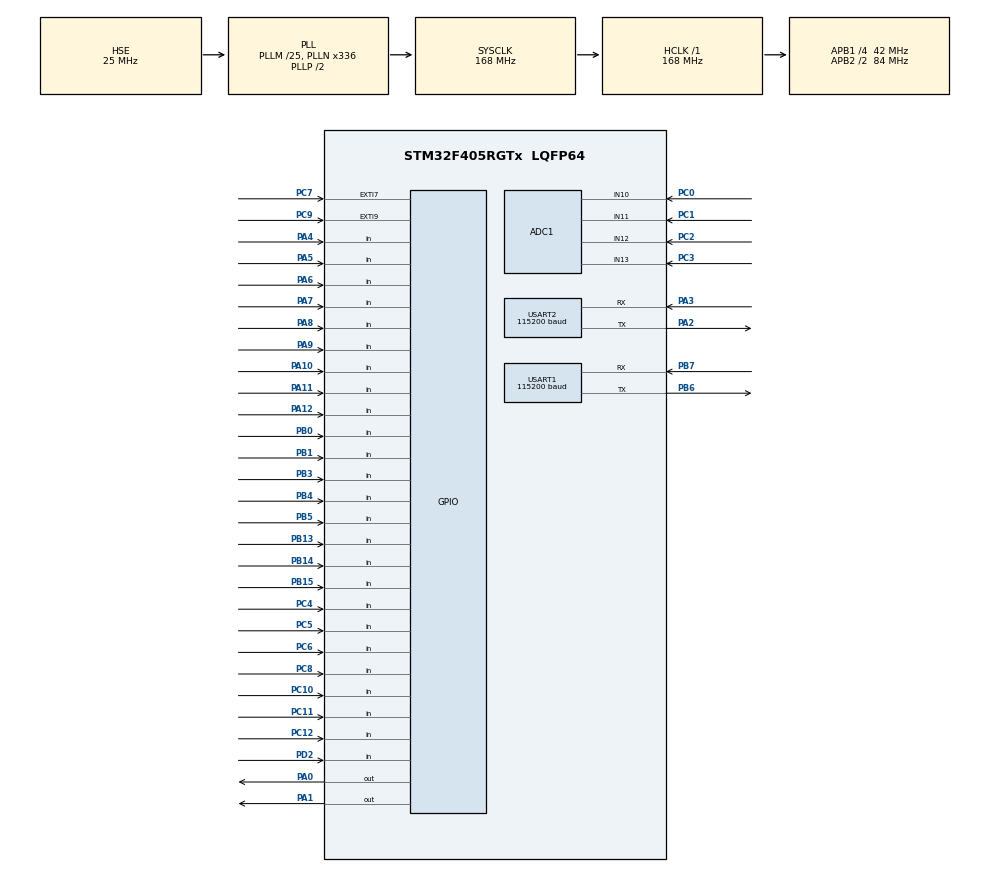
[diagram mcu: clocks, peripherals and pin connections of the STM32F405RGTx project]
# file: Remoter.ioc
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ADC1.Channel-0\#ChannelRegularConversion=ADC_CHANNEL_10
ADC1.Channel-1\#ChannelRegularConversion=ADC_CHANNEL_11
ADC1.Channel-2\#ChannelRegularConversion=ADC_CHANNEL_12
ADC1.Channel-3\#ChannelRegularConversion=ADC_CHANNEL_13
ADC1.ContinuousConvMode=DISABLE
ADC1.DMAContinuousRequests=ENABLE
ADC1.DiscontinuousConvMode=ENABLE
ADC1.EnableAnalogWatchDog=false
ADC1.InjNumberOfConversion=0
ADC1.NbrOfConversion=4
ADC1.NbrOfConversionFlag=1
ADC1.NbrOfDiscConversion=3
ADC1.Rank-0\#ChannelRegularConversion=1
ADC1.Rank-1\#ChannelRegularConversion=2
ADC1.Rank-2\#ChannelRegularConversion=3
ADC1.Rank-3\#ChannelRegularConversion=4
ADC1.SamplingTime-0\#ChannelRegularConversion=ADC_SAMPLETIME_3CYCLES
ADC1.SamplingTime-1\#ChannelRegularConversion=ADC_SAMPLETIME_3CYCLES
ADC1.SamplingTime-2\#ChannelRegularConversion=ADC_SAMPLETIME_3CYCLES
ADC1.SamplingTime-3\#ChannelRegularConversion=ADC_SAMPLETIME_3CYCLES
ADC1.ScanConvMode=ENABLE
ADC1.master=1
Dma.ADC1.0.Direction=DMA_PERIPH_TO_MEMORY
Dma.ADC1.0.FIFOMode=DMA_FIFOMODE_DISABLE
Dma.ADC1.0.Instance=DMA2_Stream0
Dma.ADC1.0.MemDataAlignment=DMA_MDATAALIGN_HALFWORD
Dma.ADC1.0.MemInc=DMA_MINC_ENABLE
Dma.ADC1.0.Mode=DMA_NORMAL
Dma.ADC1.0.PeriphDataAlignment=DMA_PDATAALIGN_HALFWORD
Dma.ADC1.0.PeriphInc=DMA_PINC_DISABLE
Dma.ADC1.0.Priority=DMA_PRIORITY_LOW
Dma.Request0=ADC1
Dma.Request1=USART1_RX
Dma.Request2=USART1_TX
Dma.Request3=USART2_RX
Dma.Request4=USART2_TX
Dma.USART1_RX.1.Direction=DMA_PERIPH_TO_MEMORY
Dma.USART1_RX.1.FIFOMode=DMA_FIFOMODE_DISABLE
Dma.USART1_RX.1.Instance=DMA2_Stream2
Dma.USART1_RX.1.MemDataAlignment=DMA_MDATAALIGN_BYTE
Dma.USART1_RX.1.MemInc=DMA_MINC_ENABLE
Dma.USART1_RX.1.Mode=DMA_NORMAL
Dma.USART1_RX.1.PeriphDataAlignment=DMA_PDATAALIGN_BYTE
Dma.USART1_RX.1.PeriphInc=DMA_PINC_DISABLE
Dma.USART1_RX.1.Priority=DMA_PRIORITY_HIGH
Dma.USART1_TX.2.Direction=DMA_MEMORY_TO_PERIPH
Dma.USART1_TX.2.FIFOMode=DMA_FIFOMODE_DISABLE
Dma.USART1_TX.2.Instance=DMA2_Stream7
Dma.USART1_TX.2.MemDataAlignment=DMA_MDATAALIGN_BYTE
Dma.USART1_TX.2.MemInc=DMA_MINC_ENABLE
Dma.USART1_TX.2.Mode=DMA_NORMAL
Dma.USART1_TX.2.PeriphDataAlignment=DMA_PDATAALIGN_BYTE
Dma.USART1_TX.2.PeriphInc=DMA_PINC_DISABLE
Dma.USART1_TX.2.Priority=DMA_PRIORITY_HIGH
Dma.USART2_RX.3.Direction=DMA_PERIPH_TO_MEMORY
Dma.USART2_RX.3.FIFOMode=DMA_FIFOMODE_DISABLE
Dma.USART2_RX.3.Instance=DMA1_Stream5
Dma.USART2_RX.3.MemDataAlignment=DMA_MDATAALIGN_BYTE
Dma.USART2_RX.3.MemInc=DMA_MINC_ENABLE
Dma.USART2_RX.3.Mode=DMA_NORMAL
Dma.USART2_RX.3.PeriphDataAlignment=DMA_PDATAALIGN_BYTE
Dma.USART2_RX.3.PeriphInc=DMA_PINC_DISABLE
Dma.USART2_RX.3.Priority=DMA_PRIORITY_HIGH
Dma.USART2_TX.4.Direction=DMA_MEMORY_TO_PERIPH
Dma.USART2_TX.4.FIFOMode=DMA_FIFOMODE_DISABLE
Dma.USART2_TX.4.Instance=DMA1_Stream6
Dma.USART2_TX.4.MemDataAlignment=DMA_MDATAALIGN_BYTE
Dma.USART2_TX.4.MemInc=DMA_MINC_ENABLE
Dma.USART2_TX.4.Mode=DMA_NORMAL
Dma.USART2_TX.4.PeriphDataAlignment=DMA_PDATAALIGN_BYTE
Dma.USART2_TX.4.PeriphInc=DMA_PINC_DISABLE
Dma.USART2_TX.4.Priority=DMA_PRIORITY_HIGH
Mcu.Family=STM32F4
Mcu.Name=STM32F405RGTx
Mcu.Package=LQFP64
NVIC.DMA1_Stream5_IRQn=true\:0\:0\:false\:false\:true\:false\:true\:true
NVIC.DMA1_Stream6_IRQn=true\:0\:0\:false\:false\:true\:false\:true\:true
NVIC.DMA2_Stream0_IRQn=true\:0\:0\:false\:false\:true\:false\:true\:true
NVIC.DMA2_Stream2_IRQn=true\:0\:0\:false\:false\:true\:false\:true\:true
NVIC.DMA2_Stream7_IRQn=true\:0\:0\:false\:false\:true\:false\:true\:true
NVIC.EXTI9_5_IRQn=true\:0\:0\:false\:false\:true\:true\:true\:true
NVIC.PriorityGroup=NVIC_PRIORITYGROUP_4
NVIC.TIM2_IRQn=true\:2\:0\:true\:false\:true\:true\:true\:true
NVIC.TIM3_IRQn=true\:1\:0\:true\:false\:true\:true\:true\:true
NVIC.TIM4_IRQn=true\:0\:0\:false\:false\:true\:true\:true\:true
NVIC.USART1_IRQn=true\:0\:0\:false\:false\:true\:true\:true\:true
NVIC.USART2_IRQn=true\:0\:0\:false\:false\:true\:true\:true\:true
PA0-WKUP.Signal=GPIO_Output
PA1.Signal=GPIO_Output
PA10.Signal=GPIO_Input
PA11.Signal=GPIO_Input
PA12.Signal=GPIO_Input
PA13.Mode=Serial_Wire
PA13.Signal=SYS_JTMS-SWDIO
PA14.Mode=Serial_Wire
PA14.Signal=SYS_JTCK-SWCLK
PA2.Mode=Asynchronous
PA2.Signal=USART2_TX
PA3.Mode=Asynchronous
PA3.Signal=USART2_RX
PA4.Signal=GPIO_Input
PA5.Signal=GPIO_Input
PA6.Signal=GPIO_Input
PA7.Signal=GPIO_Input
PA8.Signal=GPIO_Input
PA9.Signal=GPIO_Input
PB0.Signal=GPIO_Input
PB1.Signal=GPIO_Input
PB10.Signal=USART3_TX
PB11.Signal=USART3_RX
PB13.Signal=GPIO_Input
PB14.Signal=GPIO_Input
PB15.Signal=GPIO_Input
PB3.Signal=GPIO_Input
PB4.Signal=GPIO_Input
PB5.Signal=GPIO_Input
PB6.Mode=Asynchronous
PB6.Signal=USART1_TX
PB7.Mode=Asynchronous
PB7.Signal=USART1_RX
PC0.Signal=ADCx_IN10
PC1.Signal=ADCx_IN11
PC10.Signal=GPIO_Input
PC11.Signal=GPIO_Input
PC12.Signal=GPIO_Input
PC2.Signal=ADCx_IN12
PC3.Signal=ADCx_IN13
PC4.Signal=GPIO_Input
PC5.Signal=GPIO_Input
PC6.Signal=GPIO_Input
PC7.Signal=GPXTI7
PC8.Signal=GPIO_Input
PC9.Signal=GPXTI9
PD2.Signal=GPIO_Input
PH0-OSC_IN.Mode=HSE-External-Oscillator
PH0-OSC_IN.Signal=RCC_OSC_IN
PH1-OSC_OUT.Mode=HSE-External-Oscillator
PH1-OSC_OUT.Signal=RCC_OSC_OUT
ProjectManager.HeapSize=0x200
ProjectManager.StackSize=0x400
ProjectManager.TargetToolchain=MDK-ARM V5.32
RCC.48MHZClocksFreq_Value=84000000
RCC.AHBFreq_Value=168000000
RCC.APB1CLKDivider=RCC_HCLK_DIV4
RCC.APB1Freq_Value=42000000
RCC.APB1TimFreq_Value=84000000
RCC.APB2CLKDivider=RCC_HCLK_DIV2
RCC.APB2Freq_Value=84000000
RCC.APB2TimFreq_Value=168000000
RCC.CortexFreq_Value=168000000
RCC.HCLKFreq_Value=168000000
RCC.HSE_VALUE=25000000
RCC.HSICalibrationValue=25
RCC.HSI_VALUE=16000000
RCC.LSE_VALUE=32768
RCC.PLLM=25
RCC.PLLN=336
RCC.PLLSourceVirtual=RCC_PLLSOURCE_HSE
RCC.SYSCLKFreq_VALUE=168000000
RCC.SYSCLKSource=RCC_SYSCLKSOURCE_PLLCLK
RCC.VCOOutputFreq_Value=336000000
SH.ADCx_IN10.0=ADC1_IN10,IN10
SH.ADCx_IN11.0=ADC1_IN11,IN11
SH.ADCx_IN12.0=ADC1_IN12,IN12
SH.ADCx_IN13.0=ADC1_IN13,IN13
TIM2.AutoReloadPreload=TIM_AUTORELOAD_PRELOAD_ENABLE
TIM2.Period=999
TIM2.Prescaler=83
TIM3.AutoReloadPreload=TIM_AUTORELOAD_PRELOAD_ENABLE
TIM3.Period=1299
TIM3.Prescaler=1679
TIM4.Period=999
TIM4.Prescaler=83
USART1.BaudRate=115200
USART1.Parity=PARITY_NONE
USART1.VirtualMode=VM_ASYNC
USART1.WordLength=WORDLENGTH_8B
USART2.BaudRate=115200
USART2.VirtualMode=VM_ASYNC
VP_TIM2_VS_ClockSourceINT.Mode=Internal
VP_TIM3_VS_ClockSourceINT.Mode=Internal
VP_TIM4_VS_ClockSourceINT.Mode=Internal
board=custom

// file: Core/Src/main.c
/* USER CODE BEGIN Header */
/**
  ******************************************************************************
  * @file           : main.c
  * @brief          : Main program body
  ******************************************************************************
  * @attention
  *
  * Copyright (c) 2024 STMicroelectronics.
  * All rights reserved.
  *
  * This software is licensed under terms that can be found in the LICENSE file
  * in the root directory of this software component.
  * If no LICENSE file comes with this software, it is provided AS-IS.
  *
  ******************************************************************************
  */
/* USER CODE END Header */
#include "main.h"
#include "adc.h"
#include "dma.h"
#include "tim.h"
#include "usart.h"
#include "gpio.h"

/* USER CODE BEGIN Includes */
#include "Ctrl.h"
#include "Calculate.h"
/* USER CODE END Includes */

/* USER CODE BEGIN PTD */
int Watch;
int adc_initializer;
int adc_flag=0;//Used as flag for ADC INIT
int emergencyCnt=0,rstCnt=0,adcCnt=0,usartCnt=0;
int count=0;
int init=0;
DataPacket packet;
/* USER CODE END PTD */

void SystemClock_Config(void);

/* USER CODE BEGIN 0 */
uint8_t buff[4];
/* USER CODE END 0 */

int main(void)
{

  /* MCU Configuration--------------------------------------------------------*/

  /* Reset of all peripherals, Initializes the Flash interface and the Systick. */
  HAL_Init();

  /* Configure the system clock */
  SystemClock_Config();

  /* Initialize all configured peripherals */
  MX_GPIO_Init();
  MX_DMA_Init();
  MX_TIM2_Init();
  MX_ADC1_Init();
  MX_USART1_UART_Init();
  MX_TIM3_Init();
  MX_USART2_UART_Init();
  MX_TIM4_Init();
  /* USER CODE BEGIN 2 */
	HAL_ADC_Start(&hadc1);
	HAL_ADC_PollForConversion(&hadc1, 20);
	HAL_TIM_Base_Start_IT(&htim2);
	HAL_TIM_Base_Start_IT(&htim3);
  /* USER CODE END 2 */

  /* Infinite loop */
  while (1)
  {

  }
}

void SystemClock_Config(void)
{
  RCC_OscInitTypeDef RCC_OscInitStruct = {0};
  RCC_ClkInitTypeDef RCC_ClkInitStruct = {0};

  /** Configure the main internal regulator output voltage
  */
  __HAL_RCC_PWR_CLK_ENABLE();
  __HAL_PWR_VOLTAGESCALING_CONFIG(PWR_REGULATOR_VOLTAGE_SCALE1);

  /** Initializes the RCC Oscillators according to the specified parameters
  * in the RCC_OscInitTypeDef structure.
  */
  RCC_OscInitStruct.OscillatorType = RCC_OSCILLATORTYPE_HSE;
  RCC_OscInitStruct.HSEState = RCC_HSE_ON;
  RCC_OscInitStruct.PLL.PLLState = RCC_PLL_ON;
  RCC_OscInitStruct.PLL.PLLSource = RCC_PLLSOURCE_HSE;
  RCC_OscInitStruct.PLL.PLLM = 25;
  RCC_OscInitStruct.PLL.PLLN = 336;
  RCC_OscInitStruct.PLL.PLLP = RCC_PLLP_DIV2;
  RCC_OscInitStruct.PLL.PLLQ = 4;
  if (HAL_RCC_OscConfig(&RCC_OscInitStruct) != HAL_OK)
  {
    Error_Handler();
  }

  /** Initializes the CPU, AHB and APB buses clocks
  */
  RCC_ClkInitStruct.ClockType = RCC_CLOCKTYPE_HCLK|RCC_CLOCKTYPE_SYSCLK
                              |RCC_CLOCKTYPE_PCLK1|RCC_CLOCKTYPE_PCLK2;
  RCC_ClkInitStruct.SYSCLKSource = RCC_SYSCLKSOURCE_PLLCLK;
  RCC_ClkInitStruct.AHBCLKDivider = RCC_SYSCLK_DIV1;
  RCC_ClkInitStruct.APB1CLKDivider = RCC_HCLK_DIV4;
  RCC_ClkInitStruct.APB2CLKDivider = RCC_HCLK_DIV2;

  if (HAL_RCC_ClockConfig(&RCC_ClkInitStruct, FLASH_LATENCY_5) != HAL_OK)
  {
    Error_Handler();
  }
}

/* USER CODE BEGIN 4 */

void HAL_TIM_PeriodElapsedCallback(TIM_HandleTypeDef *htim)
{
	if(htim->Instance == htim2.Instance)
	{
//		//快速双击触发（已替换
//		switch(emergencySuspensionFlag){
//			case 0:{
//				if(BOTTOM_7==1){
//					break;
//				}
//				else{
//					emergencySuspensionFlag=1;
//					break;
//				}
//			}
//			case 1:{
//				if(BOTTOM_7==0){
//					if(emergencySuspensionTimer>=80){emergencySuspensionFlag=0;emergencySuspensionTimer=0;}
//					else emergencySuspensionTimer++;
//					break;
//				}
//				else{
//					if(emergencySuspensionTimer>=80){
//						emergencySuspensionTimer=0;
//						emergencySuspensionFlag=0;
//					}
//					else{
//						emergencySuspensionFlag=2;
//						emergencySuspensionTimer=0;
//					}
//				}
//				break;
//			}
//			case 2:{
//				if(BOTTOM_7==1){
//					if(emergencySuspensionTimer>=80){emergencySuspensionFlag=0;emergencySuspensionTimer=0;}
//					else emergencySuspensionTimer++;
//					break;
//				}
//				else{
//					if(emergencySuspensionTimer>=80){
//						emergencySuspensionTimer=0;
//						emergencySuspensionFlag=0;
//					}
//					else{
//						emergencySuspensionFlag=3;
//						emergencySuspensionTimer=0;
//					}
//					break;
//				}
//			}
//			case 3:{
//				if (emergencySuspensionTimer==0){
//					if(emergencySuspend==0xFF) emergencySuspend=0x00;
//					else emergencySuspend=0xFF;
//					emergencySuspensionTimer++;
//				}
//				else if(emergencySuspensionTimer>=80){
//					emergencySuspensionFlag=0;
//					emergencySuspensionTimer=0;
//				}
//				else{
//					emergencySuspensionTimer++;
//				}
//				break;
//			}
//			default:break;
//			}
		if(BOTTOM_6==0) {
			emergencySuspend|=0x0F;
			HAL_GPIO_WritePin(GPIOA,GPIO_PIN_1,0);
			emergencyCnt=200;}
		else if (emergencyCnt!=0) emergencyCnt--;
		else {
			emergencySuspend&=0xF0;
			HAL_GPIO_WritePin(GPIOA,GPIO_PIN_1,0);}
		if(BOTTOM_7==0) {
			emergencySuspend|=0xF0;
			HAL_GPIO_WritePin(GPIOA,GPIO_PIN_0,0);rstCnt=200;}
		else if (emergencyCnt!=0)
			emergencyCnt--;
		else {
			emergencySuspend&=0x0F;
			HAL_GPIO_WritePin(GPIOA,GPIO_PIN_0,0);}
		HAL_ADC_Start_DMA(&hadc1,(uint32_t *)ADC_Value,8);
		Update_BOTTOM();
		Update_ADC();

	}

		if(htim->Instance == htim3.Instance){
			Watch=SWITCH_4;
			if(adc_flag==0){
				 if(adcCnt<=100){
						adcCnt++;
						init_ADC_data();
				 }
				 else{
						init_ADC_MaxMin();
				 }
				 if(SWITCH_4!=adc_initializer){
						adc_flag=1;
				 }
			}
			else{
				Flags_clear();
				packData(&packet, TXData, sizeof(TXData));
				switch(SWITCH_4){
				case 0:
						if(usartCnt==3){
							HAL_UART_Transmit_DMA(&huart1,(uint8_t *)&packet,sizeof(packet));

							usartCnt=0;
						}
						else usartCnt++;
						break;
				case 1:HAL_UART_Transmit_DMA(&huart2,(uint8_t *)&packet,sizeof(packet)); break;
				default:break;
					}
				}
//	HAL_UART_Transmit_IT(&huart1, (uint8_t *)&packet, 14);
//		HAL_UART_Transmit(&huart1, (uint8_t*)&packet,sizeof(packet),0xffff);
//			HAL_UART_Transmit(&huart1, (uint8_t*)&buff,sizeof(buff),0xffff);
	}

}

/* USER CODE END 4 */

void Error_Handler(void)
{
  __disable_irq();
  while (1)
  {
  }
}
